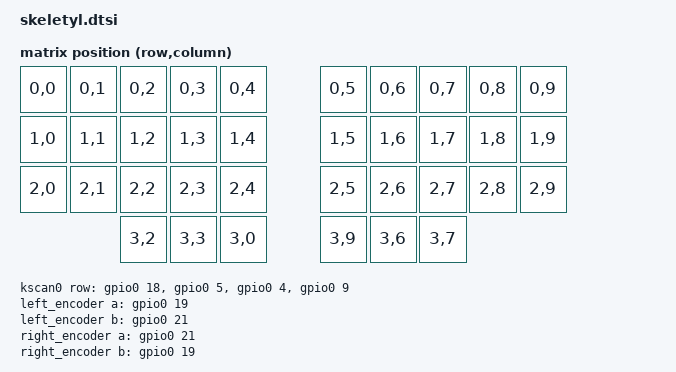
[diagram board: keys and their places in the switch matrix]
// SPDX-License-Identifier: MIT
#include <dt-bindings/zmk/matrix_transform.h>
#include <zephyr/dt-bindings/gpio/gpio.h>
#include <zephyr/dt-bindings/led/led.h>

/ {
    // --- Common nodes for both halves ---

    // KScan Definition (Rows defined here, Columns in overlays)
    // *** Replace XX with actual nice_nano P0.xx/P1.xx row pin numbers ***
    kscan0: kscan_0 {
        compatible = "zmk,kscan-gpio-matrix";
        label = "KSCAN";
        diode-direction = "row2col"; // Verify diode direction

        row-gpios
            = <&gpio0 18 (GPIO_ACTIVE_HIGH)> // Example: P0.18 - CHECK YOUR BOARD!
            , <&gpio0 5  (GPIO_ACTIVE_HIGH)> // Example: P0.05 - CHECK YOUR BOARD!
            , <&gpio0 4  (GPIO_ACTIVE_HIGH)> // Example: P0.04 - CHECK YOUR BOARD!
            , <&gpio0 9  (GPIO_ACTIVE_HIGH)> // Example: P0.09 - CHECK YOUR BOARD!
            ;
        // col-gpios are defined in the left/right overlays
    };

    // Matrix Transform (Defines full keyboard shape)
    default_transform: keymap_transform_0 {
        compatible = "zmk,matrix-transform";
        columns = <10>; // 5 columns per side
        rows = <4>;     // 4 rows defined above
        // Map logical key positions to physical row/column scan results
        // Verify this map matches your physical layout and keymap file expectations
        map = <
RC(0,0) RC(0,1) RC(0,2) RC(0,3) RC(0,4)    RC(0,5) RC(0,6) RC(0,7) RC(0,8) RC(0,9)
RC(1,0) RC(1,1) RC(1,2) RC(1,3) RC(1,4)    RC(1,5) RC(1,6) RC(1,7) RC(1,8) RC(1,9)
RC(2,0) RC(2,1) RC(2,2) RC(2,3) RC(2,4)    RC(2,5) RC(2,6) RC(2,7) RC(2,8) RC(2,9)
           RC(3,2) RC(3,3) RC(3,0)         RC(3,9) RC(3,6) RC(3,7) // Check thumb cluster RC values
        >;
    };

    // Encoder Definitions (Defined here, enabled in overlays)
    // *** Replace XX with actual nice_nano P0.xx/P1.xx encoder pin numbers ***
    left_encoder: encoder_left {
        compatible = "alps,ec11";
        label = "ENCODER_L"; // Use this label in keymap sensor bindings
        a-gpios = <&gpio0 19 (GPIO_ACTIVE_HIGH | GPIO_PULL_UP)>; // Example: P0.19 - CHECK YOUR BOARD!
        b-gpios = <&gpio0 21 (GPIO_ACTIVE_HIGH | GPIO_PULL_UP)>; // Example: P0.21 - CHECK YOUR BOARD!
        steps = <4>; // Pulses per detent (Common: 2 or 4)
        status = "disabled"; // Enabled via left overlay
    };

    right_encoder: encoder_right {
        compatible = "alps,ec11";
        label = "ENCODER_R"; // Use this label in keymap sensor bindings
        a-gpios = <&gpio0 21 (GPIO_ACTIVE_HIGH | GPIO_PULL_UP)>; // Example: P0.21 - CHECK YOUR BOARD! (Pin relative to right nice_nano)
        b-gpios = <&gpio0 19 (GPIO_ACTIVE_HIGH | GPIO_PULL_UP)>; // Example: P0.19 - CHECK YOUR BOARD! (Pin relative to right nice_nano)
        steps = <4>; // Pulses per detent
        status = "disabled"; // Enabled via right overlay
    };

    // Sensor Configuration (Links encoders to keymap bindings)
    sensors {
        compatible = "zmk,keymap-sensors";
        sensors = <&left_encoder &right_encoder>; // Reference both encoders
        triggers-per-rotation = <20>; // Number of detents/clicks per 360 rotation - match your hardware
    };

    // SPI Definition for RGB Underglow
    // *** Verify SPI pins match nice_nano_v2 board definition and your wiring ***
    // These pins are usually defined in nice_nano_v2.dts, referencing &spi1 here uses those defaults.
    &spi1 {
        compatible = "nordic,nrf-spim";
        status = "okay";

        led_strip: ws2812_spi@0 {
            compatible = "worldsemi,ws2812-spi";
            label = "WS2812_STRIP"; // Use this label if needed elsewhere
            reg = <0>; // SPI device address 0

            /* SPI Config */
            spi-max-frequency = <4000000>; // 4MHz is typical for WS2812
            spi-one-frame = <0x70>; // Standard bit representation for 1
            spi-zero-frame = <0x40>; // Standard bit representation for 0

            /* LED Chain Config */
            chain-length = <10>; /* TOTAL number of LEDs across BOTH halves */
            color-mapping = <LED_COLOR_ID_GREEN LED_COLOR_ID_RED LED_COLOR_ID_BLUE>; /* GRB order common for WS2812 */
            status = "okay"; // Enable this SPI device
        };
    };

    // Battery voltage measurement using VDDH
    vbatt: vbatt {
        compatible = "zmk,battery-nrf-vddh";
        label = "VBATT";
    };

    // Chosen nodes for ZMK firmware
    chosen {
        zmk,kscan = &kscan_0;             // Use the kscan node defined above
        zmk,matrix_transform = &default_transform; // Use the matrix transform defined above
        zmk,underglow = &led_strip;       // Use the SPI LED strip for underglow
        zmk,battery = &vbatt;             // Use the VDDH node for battery measurement
    };
};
